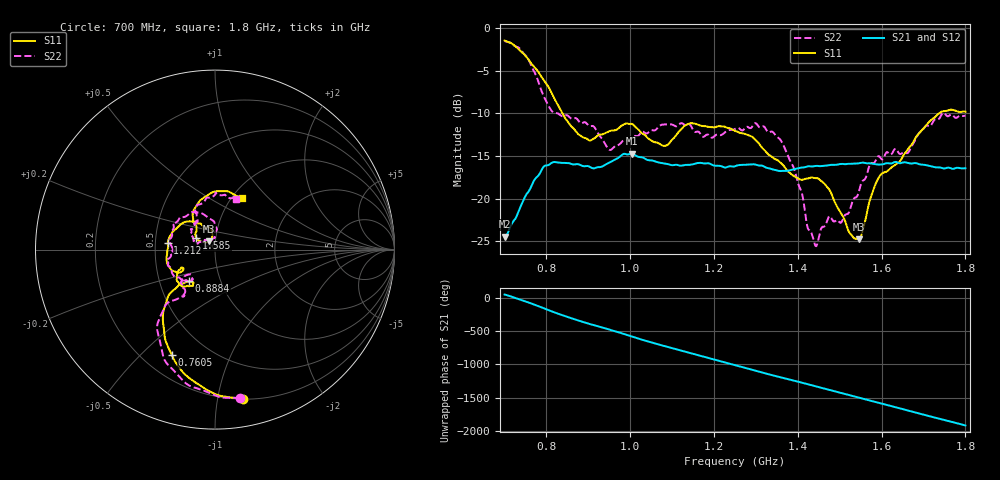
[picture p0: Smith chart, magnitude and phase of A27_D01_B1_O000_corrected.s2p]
! Created with skrf 1.9.0 (http://scikit-rf.org).
# Hz S RI R 50.0
!freq ReS11 ImS11 ReS21 ImS21 ReS12 ImS12 ReS22 ImS22
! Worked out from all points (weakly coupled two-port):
!   1601 points, 700 MHz to 1.8 GHz, reference 50 ohm
!   highest |S21| = -14.71 dB at 1.005 GHz (marker M1); lowest = -24.4 dB at 700 MHz (marker M2)
!   lowest |S11| = -24.8 dB at 1.546 GHz (marker M3), VSWR 1.12, Z = 46.4 + j4.22 ohm
!   |S11| at or under -10 dB: 838.2 MHz to 1.737 GHz (898.6 MHz wide, 69.8 % of centre)
!   |S22| runs from -25.6 to -1.5 dB; largest |S21 - S12| = 0.0037
!   S11 on the Smith chart (normalised r, x): 700 MHz: 0.20, -1.19; 760.5 MHz: 0.32, -0.62; 888.4 MHz: 0.71, -0.26; 1.212 GHz: 0.58, +0.05; 1.585 GHz: 0.81, +0.10; 1.8 GHz: 1.11, +0.71
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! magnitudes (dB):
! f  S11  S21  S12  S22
! 700 MHz  -1.5  -24.4  -24.2  -1.5
! 760.5 MHz  -4.0  -18.9  -18.8  -4.0
! 812.1 MHz  -7.6  -15.8  -15.8  -9.7
! 883.6 MHz  -12.7  -16.1  -16.0  -11.2
! 888.4 MHz  -12.8  -16.2  -16.1  -11.1
! 950.9 MHz  -12.1  -15.7  -15.7  -14.3
! 1.005 GHz  -11.3  -14.7  -14.9  -12.8
! 1.067 GHz  -13.5  -15.7  -15.7  -11.6
! 1.141 GHz  -11.2  -16.0  -16.0  -11.3
! 1.212 GHz  -11.5  -16.1  -16.1  -12.5
! 1.25 GHz  -12.0  -16.2  -16.1  -11.8
! 1.359 GHz  -15.8  -16.8  -16.7  -13.1
! 1.392 GHz  -17.4  -16.5  -16.5  -16.7
! 1.434 GHz  -17.5  -16.2  -16.2  -24.2
! 1.444 GHz  -17.6  -16.2  -16.2  -25.6
! 1.504 GHz  -21.8  -15.9  -15.9  -22.8
! 1.546 GHz  -24.8  -15.9  -15.8  -19.2
! 1.585 GHz  -18.4  -15.9  -16.0  -15.6
! 1.617 GHz  -16.6  -15.9  -15.8  -14.7
! 1.663 GHz  -14.2  -15.8  -15.8  -14.6
! 1.737 GHz  -10.0  -16.3  -16.4  -10.7
! 1.8 GHz  -9.8  -16.4  -16.4  -10.3
